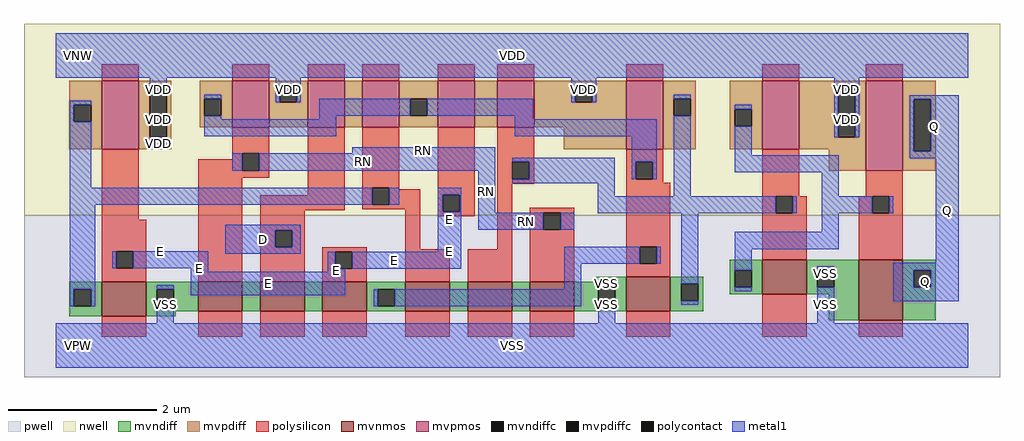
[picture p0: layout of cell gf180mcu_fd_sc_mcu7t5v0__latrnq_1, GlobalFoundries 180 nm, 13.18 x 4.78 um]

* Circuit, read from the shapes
.subckt gf180mcu_fd_sc_mcu7t5v0__latrnq_1 D E RN Q VDD VNW VPW VSS
XM1 VSS E n1 VPW nfet_06v0 w=0.465u l=0.6u
XM2 n2 RN VSS VPW nfet_06v0 w=0.395u l=0.6u
XM3 n3 D n2 VPW nfet_06v0 w=0.395u l=0.6u
XM4 n4 E n3 VPW nfet_06v0 w=0.395u l=0.6u
XM5 n5 n1 n4 VPW nfet_06v0 w=0.395u l=0.6u
XM6 n6 n7 n5 VPW nfet_06v0 w=0.395u l=0.6u
XM7 VSS RN n6 VPW nfet_06v0 w=0.395u l=0.6u
XM8 n7 n4 VSS VPW nfet_06v0 w=0.465u l=0.6u
XM9 VSS n7 n8 VPW nfet_06v0 w=0.465u l=0.6u
XM10 Q n8 VSS VPW nfet_06v0 w=0.82u l=0.6u
XM11 VDD E n1 VNW pfet_06v0 w=0.925u l=0.5u
XM12 VDD RN n4 VNW pfet_06v0 w=0.63u l=0.5u
XM13 n9 D VDD VNW pfet_06v0 w=0.63u l=0.5u
XM14 n4 n1 n9 VNW pfet_06v0 w=0.63u l=0.5u
XM15 n10 E n4 VNW pfet_06v0 w=0.63u l=0.5u
XM16 VDD n7 n10 VNW pfet_06v0 w=0.63u l=0.5u
XM17 n7 n4 VDD VNW pfet_06v0 w=0.925u l=0.5u
XM18 VDD n7 n8 VNW pfet_06v0 w=0.925u l=0.5u
XM19 Q n8 VDD VNW pfet_06v0 w=1.22u l=0.5u
.ends

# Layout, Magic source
magic
tech gf180mcuD
magscale 1 10
<< nwell >>
rect -86 352 2550 870
<< pwell >>
rect -86 -86 2550 352
<< mvnmos >>
rect 124 79 244 172
rect 384 93 504 172
rect 552 93 672 172
rect 720 93 840 172
rect 944 93 1064 172
rect 1112 93 1232 172
rect 1280 93 1400 172
rect 1540 93 1660 186
rect 1908 139 2028 232
rect 2168 68 2288 232
<< mvpmos >>
rect 124 531 224 716
rect 476 590 576 716
rect 680 590 780 716
rect 828 590 928 716
rect 1032 590 1132 716
rect 1192 590 1292 716
rect 1540 531 1640 716
rect 1908 531 2008 716
rect 2188 472 2288 716
<< mvndiff >>
rect 1820 204 1908 232
rect 1460 172 1540 186
rect 36 152 124 172
rect 36 106 49 152
rect 95 106 124 152
rect 36 79 124 106
rect 244 152 384 172
rect 244 106 273 152
rect 319 106 384 152
rect 244 93 384 106
rect 504 93 552 172
rect 672 93 720 172
rect 840 152 944 172
rect 840 106 869 152
rect 915 106 944 152
rect 840 93 944 106
rect 1064 93 1112 172
rect 1232 93 1280 172
rect 1400 158 1540 172
rect 1400 112 1465 158
rect 1511 112 1540 158
rect 1400 93 1540 112
rect 1660 167 1748 186
rect 1660 121 1689 167
rect 1735 121 1748 167
rect 1820 158 1833 204
rect 1879 158 1908 204
rect 1820 139 1908 158
rect 2028 204 2168 232
rect 2028 158 2057 204
rect 2103 158 2168 204
rect 2028 139 2168 158
rect 1660 93 1748 121
rect 244 79 324 93
rect 2088 68 2168 139
rect 2288 204 2376 232
rect 2288 158 2317 204
rect 2363 158 2376 204
rect 2288 68 2376 158
<< mvpdiff >>
rect 36 651 124 716
rect 36 605 49 651
rect 95 605 124 651
rect 36 531 124 605
rect 224 703 312 716
rect 224 563 253 703
rect 299 563 312 703
rect 388 667 476 716
rect 388 621 401 667
rect 447 621 476 667
rect 388 590 476 621
rect 576 703 680 716
rect 576 657 605 703
rect 651 657 680 703
rect 576 590 680 657
rect 780 590 828 716
rect 928 667 1032 716
rect 928 621 957 667
rect 1003 621 1032 667
rect 928 590 1032 621
rect 1132 590 1192 716
rect 1292 703 1540 716
rect 1292 657 1403 703
rect 1449 657 1540 703
rect 1292 590 1540 657
rect 224 531 312 563
rect 1372 531 1540 590
rect 1640 667 1728 716
rect 1640 621 1669 667
rect 1715 621 1728 667
rect 1640 531 1728 621
rect 1820 639 1908 716
rect 1820 593 1833 639
rect 1879 593 1908 639
rect 1820 531 1908 593
rect 2008 703 2188 716
rect 2008 563 2113 703
rect 2159 563 2188 703
rect 2008 531 2188 563
rect 2088 472 2188 531
rect 2288 665 2376 716
rect 2288 525 2317 665
rect 2363 525 2376 665
rect 2288 472 2376 525
<< mvndiffc >>
rect 49 106 95 152
rect 273 106 319 152
rect 869 106 915 152
rect 1465 112 1511 158
rect 1689 121 1735 167
rect 1833 158 1879 204
rect 2057 158 2103 204
rect 2317 158 2363 204
<< mvpdiffc >>
rect 49 605 95 651
rect 253 563 299 703
rect 401 621 447 667
rect 605 657 651 703
rect 957 621 1003 667
rect 1403 657 1449 703
rect 1669 621 1715 667
rect 1833 593 1879 639
rect 2113 563 2159 703
rect 2317 525 2363 665
<< polysilicon >>
rect 124 716 224 760
rect 476 716 576 760
rect 680 716 780 760
rect 828 716 928 760
rect 1032 716 1132 760
rect 1192 716 1292 760
rect 1540 716 1640 760
rect 1908 716 2008 760
rect 2188 716 2288 760
rect 124 340 224 531
rect 476 519 576 590
rect 476 504 503 519
rect 384 473 503 504
rect 549 473 576 519
rect 384 454 576 473
rect 124 255 244 340
rect 124 209 163 255
rect 209 209 244 255
rect 124 172 244 209
rect 384 172 504 454
rect 680 406 780 590
rect 552 366 780 406
rect 828 427 928 590
rect 828 381 855 427
rect 901 423 928 427
rect 901 381 984 423
rect 828 368 984 381
rect 552 312 672 366
rect 552 266 592 312
rect 638 266 672 312
rect 552 172 672 266
rect 720 253 840 266
rect 720 207 755 253
rect 801 207 840 253
rect 720 172 840 207
rect 944 260 984 368
rect 1032 408 1132 590
rect 1032 362 1045 408
rect 1091 362 1132 408
rect 1032 349 1132 362
rect 1192 496 1292 590
rect 1192 450 1233 496
rect 1279 450 1292 496
rect 1192 437 1292 450
rect 1540 496 1640 531
rect 1540 450 1566 496
rect 1612 450 1640 496
rect 1540 440 1640 450
rect 1192 260 1232 437
rect 944 172 1064 260
rect 1112 172 1232 260
rect 1280 359 1400 372
rect 1280 313 1317 359
rect 1363 313 1400 359
rect 1280 172 1400 313
rect 1540 267 1660 440
rect 1540 221 1577 267
rect 1623 221 1660 267
rect 1908 404 2008 531
rect 2188 404 2288 472
rect 1908 358 1944 404
rect 1990 358 2028 404
rect 1908 232 2028 358
rect 2168 358 2205 404
rect 2251 358 2288 404
rect 2168 232 2288 358
rect 1540 186 1660 221
rect 124 24 244 79
rect 384 24 504 93
rect 552 24 672 93
rect 720 24 840 93
rect 944 24 1064 93
rect 1112 24 1232 93
rect 1280 24 1400 93
rect 1540 24 1660 93
rect 1908 24 2028 139
rect 2168 24 2288 68
<< polycontact >>
rect 503 473 549 519
rect 163 209 209 255
rect 855 381 901 427
rect 592 266 638 312
rect 755 207 801 253
rect 1045 362 1091 408
rect 1233 450 1279 496
rect 1566 450 1612 496
rect 1317 313 1363 359
rect 1577 221 1623 267
rect 1944 358 1990 404
rect 2205 358 2251 404
<< metal1 >>
rect 0 724 2464 844
rect 253 703 299 724
rect 38 651 95 662
rect 38 605 49 651
rect 38 427 95 605
rect 594 703 662 724
rect 401 667 447 678
rect 594 657 605 703
rect 651 657 662 703
rect 1392 703 1460 724
rect 401 611 447 621
rect 712 621 957 667
rect 1003 621 1289 667
rect 1392 657 1403 703
rect 1449 657 1460 703
rect 2102 703 2170 724
rect 1669 667 1715 678
rect 712 611 758 621
rect 401 565 758 611
rect 1239 611 1289 621
rect 1239 565 1623 611
rect 253 531 299 563
rect 800 519 1187 536
rect 476 473 503 519
rect 549 473 1187 519
rect 38 381 855 427
rect 901 381 928 427
rect 1032 408 1095 427
rect 38 152 106 381
rect 1032 362 1045 408
rect 1091 362 1095 408
rect 457 312 662 326
rect 457 266 592 312
rect 638 266 662 312
rect 152 209 163 255
rect 209 209 411 255
rect 457 248 662 266
rect 1032 253 1095 362
rect 1141 359 1187 473
rect 1233 496 1509 507
rect 1279 450 1509 496
rect 1555 496 1623 565
rect 1555 450 1566 496
rect 1612 450 1623 496
rect 1233 439 1509 450
rect 1463 404 1509 439
rect 1669 404 1715 621
rect 1833 639 1879 650
rect 1833 514 1879 593
rect 2102 563 2113 703
rect 2159 563 2170 703
rect 2306 665 2438 676
rect 2306 525 2317 665
rect 2363 525 2438 665
rect 1833 468 2115 514
rect 2306 506 2438 525
rect 2069 404 2115 468
rect 1141 313 1317 359
rect 1363 313 1400 359
rect 1463 358 1944 404
rect 1990 358 2001 404
rect 2069 358 2205 404
rect 2251 358 2262 404
rect 365 200 411 209
rect 735 207 755 253
rect 801 207 1095 253
rect 1373 221 1577 267
rect 1623 221 1634 267
rect 735 200 781 207
rect 38 106 49 152
rect 95 106 106 152
rect 273 152 319 163
rect 365 136 781 200
rect 1373 152 1419 221
rect 858 106 869 152
rect 915 106 1419 152
rect 1465 158 1511 175
rect 273 60 319 106
rect 1465 60 1511 112
rect 1689 167 1735 358
rect 2069 307 2115 358
rect 1833 261 2115 307
rect 1833 204 1879 261
rect 2376 224 2438 506
rect 1833 147 1879 158
rect 2057 204 2103 215
rect 1689 110 1735 121
rect 2057 60 2103 158
rect 2262 204 2438 224
rect 2262 158 2317 204
rect 2363 158 2438 204
rect 2262 120 2438 158
rect 0 -60 2464 60
<< labels >>
flabel metal1 s 2306 506 2438 676 0 FreeSans 400 0 0 0 Q
port 4 nsew default output
flabel metal1 s 800 519 1187 536 0 FreeSans 400 0 0 0 RN
port 3 nsew default input
flabel metal1 s 2057 175 2103 215 0 FreeSans 400 0 0 0 VSS
port 8 nsew ground bidirectional abutment
flabel metal1 s 1032 255 1095 427 0 FreeSans 400 0 0 0 E
port 2 nsew clock input
flabel metal1 s 0 724 2464 844 0 FreeSans 400 0 0 0 VDD
port 5 nsew power bidirectional abutment
flabel metal1 s 457 248 662 326 0 FreeSans 400 0 0 0 D
port 1 nsew default input
flabel nwell s 10 734 110 834 0 FreeSans 400 0 0 0 VNW
port 6 nsew power bidirectional
flabel pwell s 10 -50 110 50 0 FreeSans 400 0 0 0 VPW
port 7 nsew ground bidirectional
rlabel metal1 s 1032 253 1095 255 1 E
port 2 nsew clock input
rlabel metal1 s 152 253 411 255 1 E
port 2 nsew clock input
rlabel metal1 s 735 209 1095 253 1 E
port 2 nsew clock input
rlabel metal1 s 152 209 411 253 1 E
port 2 nsew clock input
rlabel metal1 s 735 207 1095 209 1 E
port 2 nsew clock input
rlabel metal1 s 365 207 411 209 1 E
port 2 nsew clock input
rlabel metal1 s 735 200 781 207 1 E
port 2 nsew clock input
rlabel metal1 s 365 200 411 207 1 E
port 2 nsew clock input
rlabel metal1 s 365 136 781 200 1 E
port 2 nsew clock input
rlabel metal1 s 476 473 1187 519 1 RN
port 3 nsew default input
rlabel metal1 s 1141 359 1187 473 1 RN
port 3 nsew default input
rlabel metal1 s 1141 313 1400 359 1 RN
port 3 nsew default input
rlabel metal1 s 2376 224 2438 506 1 Q
port 4 nsew default output
rlabel metal1 s 2262 120 2438 224 1 Q
port 4 nsew default output
rlabel metal1 s 2102 657 2170 724 1 VDD
port 5 nsew power bidirectional abutment
rlabel metal1 s 1392 657 1460 724 1 VDD
port 5 nsew power bidirectional abutment
rlabel metal1 s 594 657 662 724 1 VDD
port 5 nsew power bidirectional abutment
rlabel metal1 s 253 657 299 724 1 VDD
port 5 nsew power bidirectional abutment
rlabel metal1 s 2102 563 2170 657 1 VDD
port 5 nsew power bidirectional abutment
rlabel metal1 s 253 563 299 657 1 VDD
port 5 nsew power bidirectional abutment
rlabel metal1 s 253 531 299 563 1 VDD
port 5 nsew power bidirectional abutment
rlabel metal1 s 2057 163 2103 175 1 VSS
port 8 nsew ground bidirectional abutment
rlabel metal1 s 1465 163 1511 175 1 VSS
port 8 nsew ground bidirectional abutment
rlabel metal1 s 2057 60 2103 163 1 VSS
port 8 nsew ground bidirectional abutment
rlabel metal1 s 1465 60 1511 163 1 VSS
port 8 nsew ground bidirectional abutment
rlabel metal1 s 273 60 319 163 1 VSS
port 8 nsew ground bidirectional abutment
rlabel metal1 s 0 -60 2464 60 1 VSS
port 8 nsew ground bidirectional abutment
<< properties >>
string FIXED_BBOX 0 0 2464 784
string GDS_END 604262
string GDS_FILE $PDKPATH/libs.ref/gf180mcu_fd_sc_mcu7t5v0/gds/gf180mcu_fd_sc_mcu7t5v0.gds
string GDS_START 598118
string LEFclass core
string LEFsite GF018hv5v_mcu_sc7
string LEFsymmetry X Y
<< end >>
